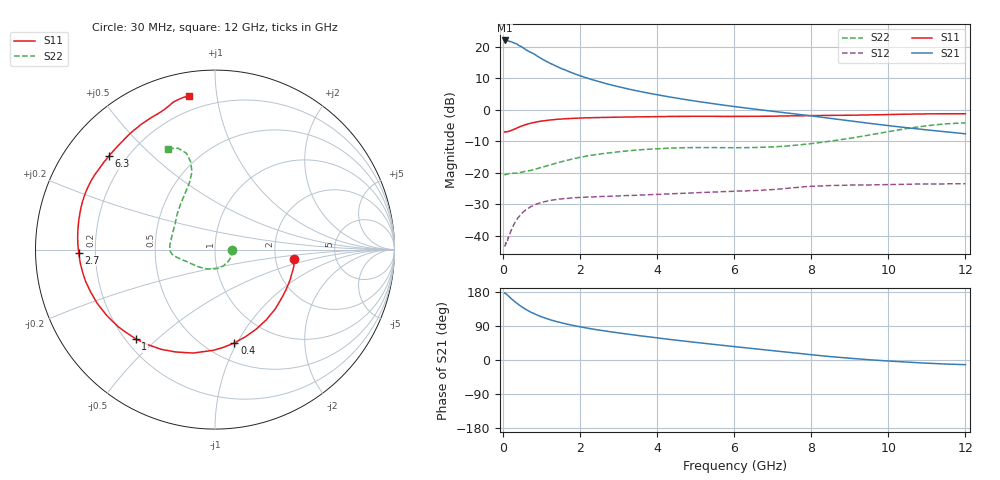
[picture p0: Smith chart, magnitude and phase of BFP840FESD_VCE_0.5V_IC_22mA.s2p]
! Infineon Technologies  Discrete & RF Semiconductors
! BFP840FESD
! VCE =  0.5 V,  IC =  22 mA
! Common Emitter S-Parameters:  May 2012
# GHz  S  MA  R  50
!  f  S11  S21  S12  S22
! GHz  MAG  ANG  MAG  ANG  MAG  ANG  MAG  ANG
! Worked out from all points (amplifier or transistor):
!   103 points, 30 MHz to 12 GHz, reference 50 ohm
!   highest |S21| = 22.0 dB at 30 MHz (marker M1)
!   |S21| within 3 dB of that: start of sweep to 590.8 MHz
!   unconditionally stable (mu >= 1): start of sweep to end of sweep
!   at 400 MHz: K = 1.75, MAG = 22.1 dB, |S12| = -33.9 dB
!   at 3.7 GHz: K = 2.26, MAG = 9.9 dB, |S12| = -27.0 dB
!   at 12 GHz: K = 3.16, MAG = 0.0 dB, |S12| = -23.4 dB
!   S11 on the Smith chart (normalised r, x): 30 MHz: 2.54, -0.35; 400 MHz: 0.67, -0.98; 1 GHz: 0.24, -0.43; 2.7 GHz: 0.14, -0.01; 6.3 GHz: 0.14, +0.37; 12 GHz: 0.12, +0.84
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0.03  0.4443 -7.1  12.59 176.6  0.007 13.2  0.0923 -1.2
0.04  0.4437 -9.3  12.46 175.7  0.0069 21.2  0.0936 -3.0
0.05  0.4493 -11.6  12.48 176.2  0.0073 22.3  0.0934 -5.0
0.12  0.4528 -27.5  12.4 169.8  0.0094 39.1  0.0966 -18.0
0.2  0.4709 -44.3  12.03 162.1  0.0122 43.0  0.0981 -31.8
0.35  0.514 -70.6  11.1 149.7  0.0185 48.2  0.0988 -55.5
0.4  0.5311 -78.3  10.46 145.7  0.0201 47.5  0.1026 -62.5
0.5  0.561 -90.9  9.734 138.7  0.0237 45.3  0.104 -75.1
0.6  0.5892 -101.9  8.83 132.4  0.0265 43.3  0.107 -87.5
0.7  0.6109 -111.0  8.199 126.9  0.0289 40.9  0.1093 -98.1
0.8  0.6317 -118.4  7.666 122.1  0.0311 38.4  0.1136 -108.2
1  0.6651 -131.6  6.408 113.6  0.0342 34.4  0.1232 -123.3
1.2  0.6897 -141.5  5.511 106.7  0.0365 31.0  0.1335 -134.8
1.5  0.7141 -152.7  4.526 98.3  0.0387 27.1  0.1498 -147.3
2.1  0.745 -168.2  3.288 85.5  0.0412 22.6  0.1819 -160.2
2.7  0.7593 -178.7  2.573 75.7  0.0426 20.8  0.2063 -166.5
4.1  0.7828 162.4  1.69 57.0  0.0459 19.8  0.2435 -175.3
6.1  0.7874 141.0  1.108 34.2  0.0515 19.4  0.2514 165.6
6.3  0.788 138.7  1.068 32.1  0.0519 19.4  0.2517 162.7
8.5  0.8165 115.9  0.732 8.9  0.0631 16.0  0.319 126.8
10.5  0.8541 105.8  0.519 -5.6  0.0662 11.3  0.5084 105.5
12  0.8667 99.5  0.417 -12.3  0.0674 10.5  0.6217 115.1
